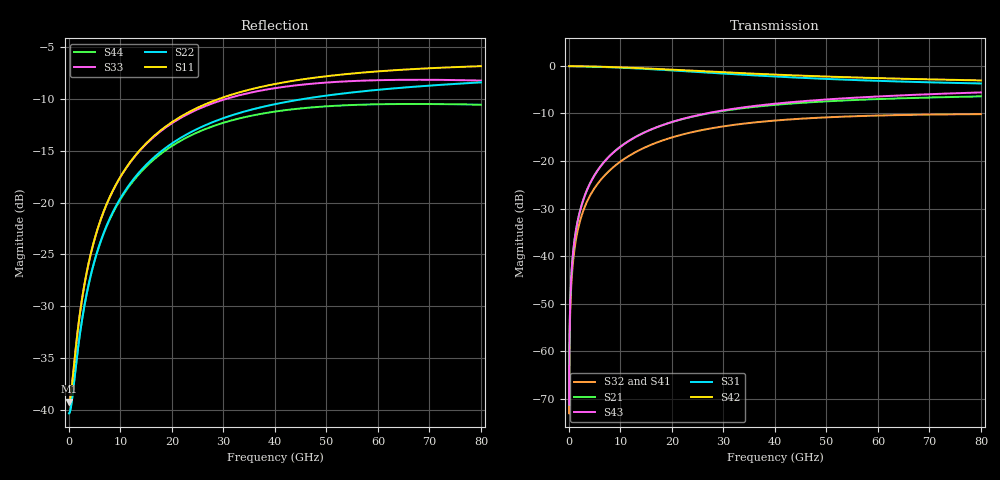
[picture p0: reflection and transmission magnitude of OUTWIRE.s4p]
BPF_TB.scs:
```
// Generated for: spectre
// Design library name: PhasedArray_WB_copy
// Design cell name: tb_BPF_10G_2BITS
// Design view name: schematic
simulator lang=spectre
global 0
parameters Fin=2G prf=0.14 trf=50p TW_bpf=0 1 2 3 TW_vco=0  vdd_bpf=0.5 \
    vdd_vco=0.5 vtune_bpf=0.1 vtune_vco=0 vdd_iloin=1 TW_bpf_DUM=1 \
    vtune_bpf_DUM=0.4 vcm_bpf=0.5

// INCLUDE YOUR MODEL PATH HERE
include "MODEL_PATH"

// Library name: PhasedArray_WB_copy
// Cell name: res_24K
// View name: schematic
subckt res_24K t1 t2 vss
    R4 (t2 net05 vss) res l=8u w=500n m=1  
    R2 (net06 net05 vss) res l=8u w=500n m=1  
    R1 (net06 net6 vss) res l=8u w=500n m=1  
    R0 (t1 net6 vss) res l=8u w=500n m=1  
ends res_24K
// End of subcircuit definition.

// Library name: PhasedArray_WB_copy
// Cell name: capbank_gp_lowC_noLSB_9u_2BITS
// View name: schematic
subckt capbank_gp_lowC_noLSB_9u_2BITS B\<3\> B\<2\> B\<1\> B\<0\> LEFT \
        RIGHT VDD VSS
    C3 (RIGHT net3 VSS) mimcap lt=9u wt=9u lay=7 m=2   \
         
    C2 (LEFT net1 VSS) mimcap lt=9u wt=9u lay=7 m=2   \
         
    C1 (RIGHT net4 VSS) mimcap lt=9u wt=9u lay=7 m=1   \
         
    C0 (LEFT net2 VSS) mimcap lt=9u wt=9u lay=7 m=1   \
         
    M1 (net1 b1_buf net3 VSS) nmos lr=60n wr=2u nr=20 sigma=1 m=2 \
         
    M0 (net2 b0_buf net4 VSS) nmos lr=60n wr=2u nr=20 sigma=1 m=1 \
         
    M44 (net0155 net0120 VSS VSS) nmos l=60n w=1u m=1 nf=1 
    M40 (net0120 B\<3\> VSS VSS) nmos l=60n w=1u m=1 nf=1 
    M37 (net0159 net0104 VSS VSS) nmos l=60n w=1u m=1 nf=1
    M36 (net0158 net0105 VSS VSS) nmos l=60n w=1u m=1 nf=1
    M35 (net0157 net0106 VSS VSS) nmos l=60n w=1u m=1 nf=1
    M31 (net0104 B\<2\> VSS VSS) nmos l=60n w=1u m=1 nf=1 
    M30 (net0105 B\<1\> VSS VSS) nmos l=60n w=1u m=1 nf=1 
    M29 (net0106 B\<0\> VSS VSS) nmos l=60n w=1u m=1 nf=1 
    M18 (b3_buf b3_inv VSS VSS) nmos l=60n w=1u m=1 nf=1 
    M16 (b3_inv B\<3\> VSS VSS) nmos l=60n w=1u m=1 nf=1 
    M15 (b2_inv B\<2\> VSS VSS) nmos l=60n w=1u m=1 nf=1 
    M13 (b2_buf b2_inv VSS VSS) nmos l=60n w=1u m=1 nf=1 
    M11 (b1_buf b1_inv VSS VSS) nmos l=60n w=1u m=1 nf=1 
    M9 (b1_inv B\<1\> VSS VSS) nmos l=60n w=1u m=1 nf=1 
    M7 (b0_buf b0_inv VSS VSS) nmos l=60n w=1u m=1 nf=1 
    M4 (b0_inv B\<0\> VSS VSS) nmos l=60n w=1u m=1 nf=1 
    M42 (net0155 net0120 VDD VDD) pmos l=60n w=1u m=1 nf=1 
    M38 (net0120 B\<3\> VDD VDD) pmos l=60n w=1u m=1 nf=1 
    M34 (net0159 net0104 VDD VDD) pmos l=60n w=1u m=1 nf=1 
    M33 (net0158 net0105 VDD VDD) pmos l=60n w=1u m=1 nf=1 
    M32 (net0157 net0106 VDD VDD) pmos l=60n w=1u m=1 nf=1 
    M28 (net0104 B\<2\> VDD VDD) pmos l=60n w=1u m=1 nf=1 
    M27 (net0105 B\<1\> VDD VDD) pmos l=60n w=1u m=1 nf=1 
    M26 (net0106 B\<0\> VDD VDD) pmos l=60n w=1u m=1 nf=1 
    M19 (b3_inv B\<3\> VDD VDD) pmos l=60n w=1u m=1 nf=1 
    M17 (b3_buf b3_inv VDD VDD) pmos l=60n w=1u m=1 nf=1 
    M14 (b2_buf b2_inv VDD VDD) pmos l=60n w=1u m=1 nf=1 
    M12 (b2_inv B\<2\> VDD VDD) pmos l=60n w=1u m=1 nf=1 
    M10 (b1_buf b1_inv VDD VDD) pmos l=60n w=1u m=1 nf=1 
    M8 (b1_inv B\<1\> VDD VDD) pmos l=60n w=1u m=1 nf=1 
    M6 (b0_buf b0_inv VDD VDD) pmos l=60n w=1u m=1 nf=1 
    M5 (b0_inv B\<0\> VDD VDD) pmos l=60n w=1u m=1 nf=1 
    I16 (b1_inv net3 VSS) res_24K
    I17 (b1_inv net1 VSS) res_24K
    I18 (b0_inv net2 VSS) res_24K
    I19 (b0_inv net4 VSS) res_24K
ends capbank_gp_lowC_noLSB_9u_2BITS
// End of subcircuit definition.

// Library name: PhasedArray_WB_copy
// Cell name: BPF6_10G_2BITS
// View name: schematic
subckt BPF6_10G_2BITS DIG_BPF\<3\> DIG_BPF\<2\> DIG_BPF\<1\> DIG_BPF\<0\> \
        INM INP OUTM OUTP VDDSW VDD_BPF0P5 VSS VTUNE
    C4 (OUTM VTUNE VSS) MOSCAP wr=2u lr=500n br=4 gr=4 m=1
    C0 (OUTP VTUNE VSS) MOSCAP wr=2u lr=500n br=4 gr=4 m=1
    M20 (OUTP OUTM VSS VSS) nmos lr=120.0n wr=2.5u nr=10 sigma=1 m=1 \
         
    M19 (OUTM OUTP VSS VSS) nmos lr=120.0n wr=2.5u nr=10 sigma=1 m=1 \
         
    M2 (OUTP INM VSS VSS) nmos lr=120.0n wr=2.5u nr=8 sigma=1 m=1 \
         
    M8 (OUTM INP VSS VSS) nmos lr=120.0n wr=2.5u nr=8 sigma=1 m=1 \
         
    I5 (DIG_BPF\<3\> DIG_BPF\<2\> DIG_BPF\<1\> DIG_BPF\<0\> OUTM OUTP \
        VDDSW VSS) capbank_gp_lowC_noLSB_9u_2BITS
    L4 (OUTM OUTP VSS VDD_BPF0P5) inductor w=9u nr=2 rad=35.5u \
        lay=9 spacing=3u gdis=10u m=1
ends BPF6_10G_2BITS
// End of subcircuit definition.

// Library name: PhasedArray_WB_copy
// Cell name: vcobuf50
// View name: schematic
subckt vcobuf50 INM INP OUTM OUTP VDD VSS
    M1 (OUTP INM VSS VSS) nmos lr=60n wr=2u nr=16 sigma=1 m=1 \
         
    M0 (OUTM INP VSS VSS) nmos lr=60n wr=2u nr=16 sigma=1 m=1 \
         
    R1 (VDD OUTP VSS) res l=12.915u w=4u m=1  
    R0 (VDD OUTM VSS) res l=12.915u w=4u m=1  
ends vcobuf50
// End of subcircuit definition.

// Library name: PhasedArray_WB_copy
// Cell name: RES80K_BUF
// View name: schematic
subckt RES80K_BUF t1 t2 vss
    R4 (net8 t2 vss) res l=10u w=500n m=1  
    R3 (net8 net7 vss) res l=10u w=500n m=1  
    R2 (net6 net7 vss) res l=10u w=500n m=1  
    R1 (net6 net5 vss) res l=10u w=500n m=1  
    R0 (t1 net5 vss) res l=10u w=500n m=1  
ends RES80K_BUF
// End of subcircuit definition.

// Library name: PhasedArray_WB_copy
// Cell name: VCO_BUFF_LIN_2OUTS_v2_FINAL
// View name: schematic
subckt VCO_BUFF_LIN_2OUTS_v2_FINAL I625U IN OUT1 OUT2 VDD VSS
    M5 (OUT2 net11 VDD VDD) pmos lr=60n wr=2u nr=16 sigma=1 m=1 \
         
    M15 (OUT1 net11 VDD VDD) pmos lr=60n wr=2u nr=16 sigma=1 m=1 \
         
    M3 (OUT2 net11 VSS VSS) nmos lr=60n wr=2u nr=8 sigma=1 m=1 \
         
    M17 (VDD net7 net023 net023) nmos lr=60n wr=2u nr=16 sigma=1 m=4 \
         
    M20 (net023 I625U VSS VSS) nmos lr=120.0n wr=2u nr=4 sigma=1 m=8 \
         
    M21 (I625U I625U VSS VSS) nmos lr=120.0n wr=2u nr=4 sigma=1 m=1 \
         
    M14 (OUT1 net11 VSS VSS) nmos lr=60n wr=2u nr=8 sigma=1 m=1 \
         
    R3 (net11 OUT2 VSS) res l=10.5u w=4u m=1  
    R0 (net11 OUT1 VSS) res l=10.5u w=4u m=1  
    C2 (VDD VSS) nmoscap lr=12.0u wr=16.0u m=2
    C0 (IN net7 VSS) mimcap lt=40u wt=10u lay=7 m=1   \
         
    C1 (net023 net11 VSS) mimcap lt=40u wt=10u lay=7 m=1 \
           
    I0 (VDD net7 VSS) RES80K_BUF
ends VCO_BUFF_LIN_2OUTS_v2_FINAL
// End of subcircuit definition.

// Library name: PhasedArray_WB_copy
// Cell name: VCO_10G_2BITS
// View name: schematic
subckt VCO_10G_2BITS DIG_VCO\<3\> DIG_VCO\<2\> DIG_VCO\<1\> DIG_VCO\<0\> \
        OUTM OUTP VDDSW VDD_VCO0P5 VSS VTUNE
    C4 (OUTM VTUNE VSS) MOSCAP wr=2u lr=500n br=4 gr=4 m=1
    C0 (OUTP VTUNE VSS) MOSCAP wr=2u lr=500n br=4 gr=4 m=1
    M0 (OUTP OUTM VSS VSS) nmos lr=60n wr=1u nr=25 sigma=1 m=2 \
         
    M1 (OUTM OUTP VSS VSS) nmos lr=60n wr=1u nr=25 sigma=1 m=2 \
         
    I10 (DIG_VCO\<3\> DIG_VCO\<2\> DIG_VCO\<1\> DIG_VCO\<0\> OUTM OUTP \
        VDDSW VSS) capbank_gp_lowC_noLSB_9u_2BITS
    L0 (OUTP OUTM VSS VDD_VCO0P5) inductor w=9u nr=2 rad=35.5u \
        lay=9 spacing=3u gdis=10u m=1
ends VCO_10G_2BITS
// End of subcircuit definition.

// Library name: PhasedArray_WB_copy
// Cell name: ILO_IN_V5_CROSS
// View name: schematic
subckt ILO_IN_V5_CROSS IN OUT OUT_AUX VDDSW VSS
    C2 (IN net3 VSS) mimcap lt=20u wt=20u lay=7 m=1   \
         
    R4 (VSS net08 VSS) res l=6u w=1u m=1  
    R3 (VSS net3 VSS) res l=12.0u w=1u m=1  
    R2 (net3 VDDSW VSS) res l=12.0u w=1u m=1  
    M0 (OUT_AUX net3 net08 net08) nmos lr=60n wr=2u nr=18 sigma=1 m=1 \
         
    M3 (OUT net3 VSS VSS) nmos lr=60n wr=2u nr=20 sigma=1 m=1 \
         
ends ILO_IN_V5_CROSS
// End of subcircuit definition.

// Library name: PhasedArray_WB_copy
// Cell name: ILO_10G_2BITS
// View name: schematic
subckt ILO_10G_2BITS DIG_VCO\<3\> DIG_VCO\<2\> DIG_VCO\<1\> DIG_VCO\<0\> \
        INM INP OUTM OUTP VDDSW VDD_VCO0P5 VSS VTUNE
    I11 (DIG_VCO\<3\> DIG_VCO\<2\> DIG_VCO\<1\> DIG_VCO\<0\> OUTM OUTP \
        VDDSW VDD_VCO0P5 VSS VTUNE) VCO_10G_2BITS
    I12 (INP OUTM OUTP VDDSW VSS) ILO_IN_V5_CROSS
    I13 (INM OUTP OUTM VDDSW VSS) ILO_IN_V5_CROSS
ends ILO_10G_2BITS
// End of subcircuit definition.

// Library name: PhasedArray_WB_copy
// Cell name: tb_BPF_10G_2BITS
// View name: schematic
V22 (net029 0) vsource mag=500.0m type=pulse val0=0 val1=1 period=1/Fin \
        rise=trf fall=trf width=prf/Fin-trf
V21 (net030 0) vsource mag=-500m type=pulse val0=1 val1=0 period=1/Fin \
        rise=trf fall=trf width=prf/Fin-trf
I7 (DIG_BPF\<3\> DIG_BPF\<2\> DIG_BPF\<1\> DIG_BPF\<0\> net037 net038 \
        BPF_OUTM_C0_3 BPF_OUTP_C0_3 vddSW vdd_bpf 0 net04) BPF6_10G_2BITS
I37 (AVDD_ILOBUF IBUF625\<0\>) isource dc=625u type=dc
I36 (AVDD_ILOBUF IBUF625\<1\>) isource dc=625u type=dc
I64 (net019 net028 net026 net027 AVDD_ILOBUF AVSS) vcobuf50
V31 (net037 0) vsource dc=500.0m mag=-500m type=dc
V30 (net038 0) vsource dc=500.0m mag=500m type=dc
V8 (net022 0) vsource dc=TW_vco type=dc
V2 (vddSW 0) vsource dc=1 type=dc
V1 (vdd_bpf 0) vsource dc=vdd_bpf type=dc
V12 (vdd_vco 0) vsource dc=vdd_vco type=dc
V13 (net015 0) vsource dc=vtune_vco type=dc
V17 (AVSS 0) vsource dc=0 type=dc
V9 (net023 0) vsource dc=TW_bpf type=dc
V15 (net04 0) vsource dc=vtune_bpf type=dc
V16 (AVDD_ILOBUF 0) vsource dc=1 type=dc
I10 (net022 DIG_VCO\<5\> DIG_VCO\<4\> DIG_VCO\<3\> DIG_VCO\<2\> \
        DIG_VCO\<1\> DIG_VCO\<0\>) Dec2bin_6bit vdd=1
I6 (net023 DIG_BPF\<5\> DIG_BPF\<4\> DIG_BPF\<3\> DIG_BPF\<2\> \
        DIG_BPF\<1\> DIG_BPF\<0\>) Dec2bin_6bit vdd=1
I4 (IBUF625\<0\> out0 LO_OUTP_C0 LO_OUTP_INT_C0 AVDD_ILOBUF AVSS) \
        VCO_BUFF_LIN_2OUTS_v2_FINAL
I35 (IBUF625\<1\> out180 LO_OUTM_C0 LO_OUTM_INT_C0 AVDD_ILOBUF AVSS) \
        VCO_BUFF_LIN_2OUTS_v2_FINAL
NPORT5 ( BPF_OUTP_C0_3 AVSS BPF_OUTM_C0_3 AVSS net028 AVSS net019 AVSS) \
        nport imptrunc=1.0e-6 datafmt=touchstone \
        file="./OUTWIRE.s4p" \
        dcextrap=unwrap hfextrap=linear interp=spline
I3 (DIG_VCO\<3\> DIG_VCO\<2\> DIG_VCO\<1\> DIG_VCO\<0\> BPF_OUTM_C0_3 \
        BPF_OUTP_C0_3 out180 out0 vddSW vdd_vco 0 net015) ILO_10G_2BITS
simulatorOptions options reltol=1e-3 vabstol=1e-6 iabstol=1e-12 temp=27 \
    tnom=27 scalem=1.0 scale=1.0 gmin=1e-12 rforce=1 maxnotes=5 maxwarns=5 \
    digits=5 cols=80 pivrel=1e-3 sensfile="../psf/sens.output" \
    checklimitdest=psf 
tran tran stop=10n write="spectre.ic" writefinal="spectre.fc" \
    annotate=status maxiters=5 
finalTimeOP info what=oppoint where=rawfile
modelParameter info what=models where=rawfile
element info what=inst where=rawfile
outputParameter info what=output where=rawfile
designParamVals info what=parameters where=rawfile
primitives info what=primitives where=rawfile
subckts info what=subckts  where=rawfile
saveOptions options save=allpub
ahdl_include "./IdealDAC.va"
```
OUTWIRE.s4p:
! Created Sun Jun 11 19:48:53 2017
# hz S ma R 50
! 4 Port Network Data from data block
! freq  magS11  angS11  magS12  angS12  magS13  angS13  magS14  angS14
!  magS21  angS21  magS22  angS22  magS23  angS23  magS24  angS24
!  magS31  angS31  magS32  angS32  magS33  angS33  magS34  angS34
!  magS41  angS41  magS42  angS42  magS43  angS43  magS44  angS44
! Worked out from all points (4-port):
!   4000 points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, 20 MHz to 80 GHz, reference 50 ohm
!   strongest paths, dB at 20 MHz, 20.02 GHz, 40.02 GHz, 60.02 GHz, 80 GHz:
!     S42: -0.1, -0.8, -1.9, -2.6, -3.1
!     S31: -0.1, -1.0, -2.3, -3.2, -3.7
!     S43: -71.2, -11.8, -8.0, -6.4, -5.6
!     S21: -71.2, -11.8, -8.2, -7.0, -6.4
!     S32: -73.0, -15.0, -11.5, -10.5, -10.2
!     S41: -73.0, -15.1, -11.6, -10.6, -10.3
!   lowest |S11| = -39.2 dB at 20 MHz (marker M1), VSWR 1.02, Z = 51.1 + j0.0253 ohm
!   |S11| at or under -10 dB: start of sweep to 29.1 GHz
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2e7  0.01094 1.3  0.0002761 90.0  0.9891 -0.0  0.0002238 -90.1
     0.0002761 90.0  0.009614 1.2  0.0002237 -90.1  0.9904 -0.0
     0.9891 -0.0  0.0002237 -90.1  0.01094 1.3  0.000276 90.0
     0.0002238 -90.1  0.9904 -0.0  0.000276 90.0  0.009614 1.2
1.146e10  0.1517 67.7  0.1608 74.0  0.9478 -13.7  0.1108 -115.4
          0.1608 74.0  0.1195 66.7  0.1115 -115.6  0.9559 -11.3
          0.9478 -13.7  0.1115 -115.6  0.151 67.8  0.1603 72.4
          0.1108 -115.4  0.9559 -11.3  0.1603 72.4  0.1177 67.9
8e10  0.4551 7.4  0.4772 31.6  0.6519 -54.9  0.3055 165.2
      0.4772 31.6  0.3801 5.1  0.3104 161.9  0.702 -46.0
      0.6519 -54.9  0.3104 161.9  0.3878 13.1  0.525 16.3
      0.3055 165.2  0.702 -46.0  0.525 16.3  0.2967 22.7
